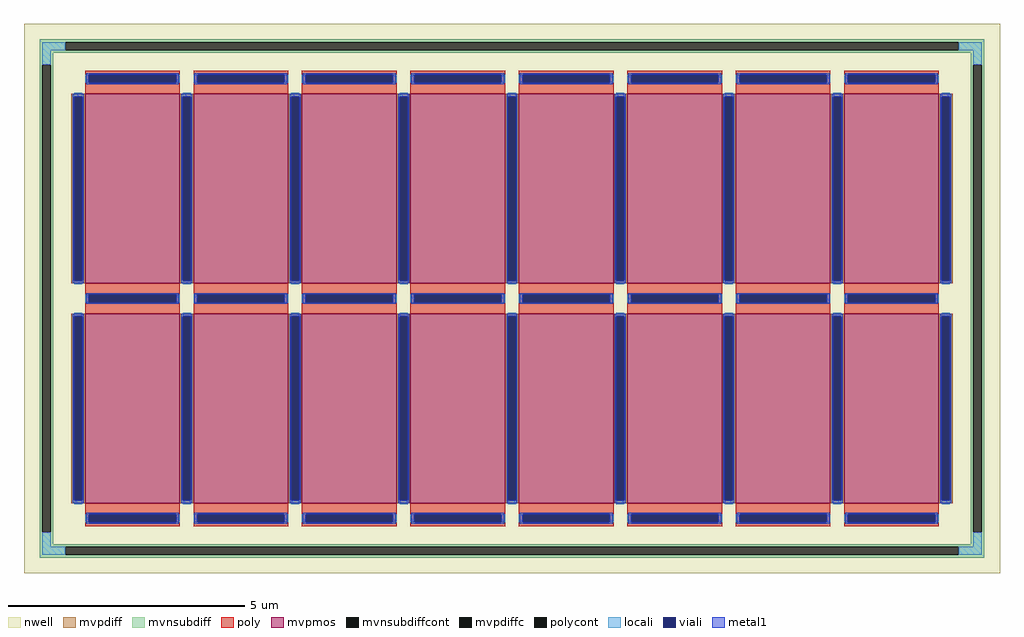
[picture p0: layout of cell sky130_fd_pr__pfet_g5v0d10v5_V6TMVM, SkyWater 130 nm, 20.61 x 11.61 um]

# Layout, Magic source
magic
tech sky130A
magscale 1 2
<< nwell >>
rect -2061 -1161 2061 1161
<< mvpmos >>
rect -1803 64 -1403 864
rect -1345 64 -945 864
rect -887 64 -487 864
rect -429 64 -29 864
rect 29 64 429 864
rect 487 64 887 864
rect 945 64 1345 864
rect 1403 64 1803 864
rect -1803 -864 -1403 -64
rect -1345 -864 -945 -64
rect -887 -864 -487 -64
rect -429 -864 -29 -64
rect 29 -864 429 -64
rect 487 -864 887 -64
rect 945 -864 1345 -64
rect 1403 -864 1803 -64
<< mvpdiff >>
rect -1861 852 -1803 864
rect -1861 76 -1849 852
rect -1815 76 -1803 852
rect -1861 64 -1803 76
rect -1403 852 -1345 864
rect -1403 76 -1391 852
rect -1357 76 -1345 852
rect -1403 64 -1345 76
rect -945 852 -887 864
rect -945 76 -933 852
rect -899 76 -887 852
rect -945 64 -887 76
rect -487 852 -429 864
rect -487 76 -475 852
rect -441 76 -429 852
rect -487 64 -429 76
rect -29 852 29 864
rect -29 76 -17 852
rect 17 76 29 852
rect -29 64 29 76
rect 429 852 487 864
rect 429 76 441 852
rect 475 76 487 852
rect 429 64 487 76
rect 887 852 945 864
rect 887 76 899 852
rect 933 76 945 852
rect 887 64 945 76
rect 1345 852 1403 864
rect 1345 76 1357 852
rect 1391 76 1403 852
rect 1345 64 1403 76
rect 1803 852 1861 864
rect 1803 76 1815 852
rect 1849 76 1861 852
rect 1803 64 1861 76
rect -1861 -76 -1803 -64
rect -1861 -852 -1849 -76
rect -1815 -852 -1803 -76
rect -1861 -864 -1803 -852
rect -1403 -76 -1345 -64
rect -1403 -852 -1391 -76
rect -1357 -852 -1345 -76
rect -1403 -864 -1345 -852
rect -945 -76 -887 -64
rect -945 -852 -933 -76
rect -899 -852 -887 -76
rect -945 -864 -887 -852
rect -487 -76 -429 -64
rect -487 -852 -475 -76
rect -441 -852 -429 -76
rect -487 -864 -429 -852
rect -29 -76 29 -64
rect -29 -852 -17 -76
rect 17 -852 29 -76
rect -29 -864 29 -852
rect 429 -76 487 -64
rect 429 -852 441 -76
rect 475 -852 487 -76
rect 429 -864 487 -852
rect 887 -76 945 -64
rect 887 -852 899 -76
rect 933 -852 945 -76
rect 887 -864 945 -852
rect 1345 -76 1403 -64
rect 1345 -852 1357 -76
rect 1391 -852 1403 -76
rect 1345 -864 1403 -852
rect 1803 -76 1861 -64
rect 1803 -852 1815 -76
rect 1849 -852 1861 -76
rect 1803 -864 1861 -852
<< mvpdiffc >>
rect -1849 76 -1815 852
rect -1391 76 -1357 852
rect -933 76 -899 852
rect -475 76 -441 852
rect -17 76 17 852
rect 441 76 475 852
rect 899 76 933 852
rect 1357 76 1391 852
rect 1815 76 1849 852
rect -1849 -852 -1815 -76
rect -1391 -852 -1357 -76
rect -933 -852 -899 -76
rect -475 -852 -441 -76
rect -17 -852 17 -76
rect 441 -852 475 -76
rect 899 -852 933 -76
rect 1357 -852 1391 -76
rect 1815 -852 1849 -76
<< mvnsubdiff >>
rect -1995 1083 1995 1095
rect -1995 1049 -1887 1083
rect 1887 1049 1995 1083
rect -1995 1037 1995 1049
rect -1995 987 -1937 1037
rect -1995 -987 -1983 987
rect -1949 -987 -1937 987
rect 1937 987 1995 1037
rect -1995 -1037 -1937 -987
rect 1937 -987 1949 987
rect 1983 -987 1995 987
rect 1937 -1037 1995 -987
rect -1995 -1049 1995 -1037
rect -1995 -1083 -1887 -1049
rect 1887 -1083 1995 -1049
rect -1995 -1095 1995 -1083
<< mvnsubdiffcont >>
rect -1887 1049 1887 1083
rect -1983 -987 -1949 987
rect 1949 -987 1983 987
rect -1887 -1083 1887 -1049
<< poly >>
rect -1803 945 -1403 961
rect -1803 911 -1787 945
rect -1419 911 -1403 945
rect -1803 864 -1403 911
rect -1345 945 -945 961
rect -1345 911 -1329 945
rect -961 911 -945 945
rect -1345 864 -945 911
rect -887 945 -487 961
rect -887 911 -871 945
rect -503 911 -487 945
rect -887 864 -487 911
rect -429 945 -29 961
rect -429 911 -413 945
rect -45 911 -29 945
rect -429 864 -29 911
rect 29 945 429 961
rect 29 911 45 945
rect 413 911 429 945
rect 29 864 429 911
rect 487 945 887 961
rect 487 911 503 945
rect 871 911 887 945
rect 487 864 887 911
rect 945 945 1345 961
rect 945 911 961 945
rect 1329 911 1345 945
rect 945 864 1345 911
rect 1403 945 1803 961
rect 1403 911 1419 945
rect 1787 911 1803 945
rect 1403 864 1803 911
rect -1803 17 -1403 64
rect -1803 -17 -1787 17
rect -1419 -17 -1403 17
rect -1803 -64 -1403 -17
rect -1345 17 -945 64
rect -1345 -17 -1329 17
rect -961 -17 -945 17
rect -1345 -64 -945 -17
rect -887 17 -487 64
rect -887 -17 -871 17
rect -503 -17 -487 17
rect -887 -64 -487 -17
rect -429 17 -29 64
rect -429 -17 -413 17
rect -45 -17 -29 17
rect -429 -64 -29 -17
rect 29 17 429 64
rect 29 -17 45 17
rect 413 -17 429 17
rect 29 -64 429 -17
rect 487 17 887 64
rect 487 -17 503 17
rect 871 -17 887 17
rect 487 -64 887 -17
rect 945 17 1345 64
rect 945 -17 961 17
rect 1329 -17 1345 17
rect 945 -64 1345 -17
rect 1403 17 1803 64
rect 1403 -17 1419 17
rect 1787 -17 1803 17
rect 1403 -64 1803 -17
rect -1803 -911 -1403 -864
rect -1803 -945 -1787 -911
rect -1419 -945 -1403 -911
rect -1803 -961 -1403 -945
rect -1345 -911 -945 -864
rect -1345 -945 -1329 -911
rect -961 -945 -945 -911
rect -1345 -961 -945 -945
rect -887 -911 -487 -864
rect -887 -945 -871 -911
rect -503 -945 -487 -911
rect -887 -961 -487 -945
rect -429 -911 -29 -864
rect -429 -945 -413 -911
rect -45 -945 -29 -911
rect -429 -961 -29 -945
rect 29 -911 429 -864
rect 29 -945 45 -911
rect 413 -945 429 -911
rect 29 -961 429 -945
rect 487 -911 887 -864
rect 487 -945 503 -911
rect 871 -945 887 -911
rect 487 -961 887 -945
rect 945 -911 1345 -864
rect 945 -945 961 -911
rect 1329 -945 1345 -911
rect 945 -961 1345 -945
rect 1403 -911 1803 -864
rect 1403 -945 1419 -911
rect 1787 -945 1803 -911
rect 1403 -961 1803 -945
<< polycont >>
rect -1787 911 -1419 945
rect -1329 911 -961 945
rect -871 911 -503 945
rect -413 911 -45 945
rect 45 911 413 945
rect 503 911 871 945
rect 961 911 1329 945
rect 1419 911 1787 945
rect -1787 -17 -1419 17
rect -1329 -17 -961 17
rect -871 -17 -503 17
rect -413 -17 -45 17
rect 45 -17 413 17
rect 503 -17 871 17
rect 961 -17 1329 17
rect 1419 -17 1787 17
rect -1787 -945 -1419 -911
rect -1329 -945 -961 -911
rect -871 -945 -503 -911
rect -413 -945 -45 -911
rect 45 -945 413 -911
rect 503 -945 871 -911
rect 961 -945 1329 -911
rect 1419 -945 1787 -911
<< locali >>
rect -1983 1049 -1887 1083
rect 1887 1049 1983 1083
rect -1983 987 -1949 1049
rect 1949 987 1983 1049
rect -1803 911 -1787 945
rect -1419 911 -1403 945
rect -1345 911 -1329 945
rect -961 911 -945 945
rect -887 911 -871 945
rect -503 911 -487 945
rect -429 911 -413 945
rect -45 911 -29 945
rect 29 911 45 945
rect 413 911 429 945
rect 487 911 503 945
rect 871 911 887 945
rect 945 911 961 945
rect 1329 911 1345 945
rect 1403 911 1419 945
rect 1787 911 1803 945
rect -1849 852 -1815 868
rect -1849 60 -1815 76
rect -1391 852 -1357 868
rect -1391 60 -1357 76
rect -933 852 -899 868
rect -933 60 -899 76
rect -475 852 -441 868
rect -475 60 -441 76
rect -17 852 17 868
rect -17 60 17 76
rect 441 852 475 868
rect 441 60 475 76
rect 899 852 933 868
rect 899 60 933 76
rect 1357 852 1391 868
rect 1357 60 1391 76
rect 1815 852 1849 868
rect 1815 60 1849 76
rect -1803 -17 -1787 17
rect -1419 -17 -1403 17
rect -1345 -17 -1329 17
rect -961 -17 -945 17
rect -887 -17 -871 17
rect -503 -17 -487 17
rect -429 -17 -413 17
rect -45 -17 -29 17
rect 29 -17 45 17
rect 413 -17 429 17
rect 487 -17 503 17
rect 871 -17 887 17
rect 945 -17 961 17
rect 1329 -17 1345 17
rect 1403 -17 1419 17
rect 1787 -17 1803 17
rect -1849 -76 -1815 -60
rect -1849 -868 -1815 -852
rect -1391 -76 -1357 -60
rect -1391 -868 -1357 -852
rect -933 -76 -899 -60
rect -933 -868 -899 -852
rect -475 -76 -441 -60
rect -475 -868 -441 -852
rect -17 -76 17 -60
rect -17 -868 17 -852
rect 441 -76 475 -60
rect 441 -868 475 -852
rect 899 -76 933 -60
rect 899 -868 933 -852
rect 1357 -76 1391 -60
rect 1357 -868 1391 -852
rect 1815 -76 1849 -60
rect 1815 -868 1849 -852
rect -1803 -945 -1787 -911
rect -1419 -945 -1403 -911
rect -1345 -945 -1329 -911
rect -961 -945 -945 -911
rect -887 -945 -871 -911
rect -503 -945 -487 -911
rect -429 -945 -413 -911
rect -45 -945 -29 -911
rect 29 -945 45 -911
rect 413 -945 429 -911
rect 487 -945 503 -911
rect 871 -945 887 -911
rect 945 -945 961 -911
rect 1329 -945 1345 -911
rect 1403 -945 1419 -911
rect 1787 -945 1803 -911
rect -1983 -1049 -1949 -987
rect 1949 -1049 1983 -987
rect -1983 -1083 -1887 -1049
rect 1887 -1083 1983 -1049
<< viali >>
rect -1787 911 -1419 945
rect -1329 911 -961 945
rect -871 911 -503 945
rect -413 911 -45 945
rect 45 911 413 945
rect 503 911 871 945
rect 961 911 1329 945
rect 1419 911 1787 945
rect -1849 76 -1815 852
rect -1391 76 -1357 852
rect -933 76 -899 852
rect -475 76 -441 852
rect -17 76 17 852
rect 441 76 475 852
rect 899 76 933 852
rect 1357 76 1391 852
rect 1815 76 1849 852
rect -1787 -17 -1419 17
rect -1329 -17 -961 17
rect -871 -17 -503 17
rect -413 -17 -45 17
rect 45 -17 413 17
rect 503 -17 871 17
rect 961 -17 1329 17
rect 1419 -17 1787 17
rect -1849 -852 -1815 -76
rect -1391 -852 -1357 -76
rect -933 -852 -899 -76
rect -475 -852 -441 -76
rect -17 -852 17 -76
rect 441 -852 475 -76
rect 899 -852 933 -76
rect 1357 -852 1391 -76
rect 1815 -852 1849 -76
rect -1787 -945 -1419 -911
rect -1329 -945 -961 -911
rect -871 -945 -503 -911
rect -413 -945 -45 -911
rect 45 -945 413 -911
rect 503 -945 871 -911
rect 961 -945 1329 -911
rect 1419 -945 1787 -911
<< metal1 >>
rect -1799 945 -1407 951
rect -1799 911 -1787 945
rect -1419 911 -1407 945
rect -1799 905 -1407 911
rect -1341 945 -949 951
rect -1341 911 -1329 945
rect -961 911 -949 945
rect -1341 905 -949 911
rect -883 945 -491 951
rect -883 911 -871 945
rect -503 911 -491 945
rect -883 905 -491 911
rect -425 945 -33 951
rect -425 911 -413 945
rect -45 911 -33 945
rect -425 905 -33 911
rect 33 945 425 951
rect 33 911 45 945
rect 413 911 425 945
rect 33 905 425 911
rect 491 945 883 951
rect 491 911 503 945
rect 871 911 883 945
rect 491 905 883 911
rect 949 945 1341 951
rect 949 911 961 945
rect 1329 911 1341 945
rect 949 905 1341 911
rect 1407 945 1799 951
rect 1407 911 1419 945
rect 1787 911 1799 945
rect 1407 905 1799 911
rect -1855 852 -1809 864
rect -1855 76 -1849 852
rect -1815 76 -1809 852
rect -1855 64 -1809 76
rect -1397 852 -1351 864
rect -1397 76 -1391 852
rect -1357 76 -1351 852
rect -1397 64 -1351 76
rect -939 852 -893 864
rect -939 76 -933 852
rect -899 76 -893 852
rect -939 64 -893 76
rect -481 852 -435 864
rect -481 76 -475 852
rect -441 76 -435 852
rect -481 64 -435 76
rect -23 852 23 864
rect -23 76 -17 852
rect 17 76 23 852
rect -23 64 23 76
rect 435 852 481 864
rect 435 76 441 852
rect 475 76 481 852
rect 435 64 481 76
rect 893 852 939 864
rect 893 76 899 852
rect 933 76 939 852
rect 893 64 939 76
rect 1351 852 1397 864
rect 1351 76 1357 852
rect 1391 76 1397 852
rect 1351 64 1397 76
rect 1809 852 1855 864
rect 1809 76 1815 852
rect 1849 76 1855 852
rect 1809 64 1855 76
rect -1799 17 -1407 23
rect -1799 -17 -1787 17
rect -1419 -17 -1407 17
rect -1799 -23 -1407 -17
rect -1341 17 -949 23
rect -1341 -17 -1329 17
rect -961 -17 -949 17
rect -1341 -23 -949 -17
rect -883 17 -491 23
rect -883 -17 -871 17
rect -503 -17 -491 17
rect -883 -23 -491 -17
rect -425 17 -33 23
rect -425 -17 -413 17
rect -45 -17 -33 17
rect -425 -23 -33 -17
rect 33 17 425 23
rect 33 -17 45 17
rect 413 -17 425 17
rect 33 -23 425 -17
rect 491 17 883 23
rect 491 -17 503 17
rect 871 -17 883 17
rect 491 -23 883 -17
rect 949 17 1341 23
rect 949 -17 961 17
rect 1329 -17 1341 17
rect 949 -23 1341 -17
rect 1407 17 1799 23
rect 1407 -17 1419 17
rect 1787 -17 1799 17
rect 1407 -23 1799 -17
rect -1855 -76 -1809 -64
rect -1855 -852 -1849 -76
rect -1815 -852 -1809 -76
rect -1855 -864 -1809 -852
rect -1397 -76 -1351 -64
rect -1397 -852 -1391 -76
rect -1357 -852 -1351 -76
rect -1397 -864 -1351 -852
rect -939 -76 -893 -64
rect -939 -852 -933 -76
rect -899 -852 -893 -76
rect -939 -864 -893 -852
rect -481 -76 -435 -64
rect -481 -852 -475 -76
rect -441 -852 -435 -76
rect -481 -864 -435 -852
rect -23 -76 23 -64
rect -23 -852 -17 -76
rect 17 -852 23 -76
rect -23 -864 23 -852
rect 435 -76 481 -64
rect 435 -852 441 -76
rect 475 -852 481 -76
rect 435 -864 481 -852
rect 893 -76 939 -64
rect 893 -852 899 -76
rect 933 -852 939 -76
rect 893 -864 939 -852
rect 1351 -76 1397 -64
rect 1351 -852 1357 -76
rect 1391 -852 1397 -76
rect 1351 -864 1397 -852
rect 1809 -76 1855 -64
rect 1809 -852 1815 -76
rect 1849 -852 1855 -76
rect 1809 -864 1855 -852
rect -1799 -911 -1407 -905
rect -1799 -945 -1787 -911
rect -1419 -945 -1407 -911
rect -1799 -951 -1407 -945
rect -1341 -911 -949 -905
rect -1341 -945 -1329 -911
rect -961 -945 -949 -911
rect -1341 -951 -949 -945
rect -883 -911 -491 -905
rect -883 -945 -871 -911
rect -503 -945 -491 -911
rect -883 -951 -491 -945
rect -425 -911 -33 -905
rect -425 -945 -413 -911
rect -45 -945 -33 -911
rect -425 -951 -33 -945
rect 33 -911 425 -905
rect 33 -945 45 -911
rect 413 -945 425 -911
rect 33 -951 425 -945
rect 491 -911 883 -905
rect 491 -945 503 -911
rect 871 -945 883 -911
rect 491 -951 883 -945
rect 949 -911 1341 -905
rect 949 -945 961 -911
rect 1329 -945 1341 -911
rect 949 -951 1341 -945
rect 1407 -911 1799 -905
rect 1407 -945 1419 -911
rect 1787 -945 1799 -911
rect 1407 -951 1799 -945
<< properties >>
string FIXED_BBOX -1966 -1066 1966 1066
string gencell sky130_fd_pr__pfet_g5v0d10v5
string library sky130
string parameters w 4.0 l 2.0 m 2 nf 8 diffcov 100 polycov 100 guard 1 glc 1 grc 1 gtc 1 gbc 1 tbcov 100 rlcov 100 topc 1 botc 1 poverlap 1 doverlap 1 lmin 0.50 wmin 0.42 compatible {sky130_fd_pr__pfet_01v8  sky130_fd_pr__pfet_01v8_lvt sky130_fd_pr__pfet_01v8_hvt  sky130_fd_pr__pfet_g5v0d10v5} full_metal 1 viasrc 100 viadrn 100 viagate 100 viagb 0 viagr 0 viagl 0 viagt 0
<< end >>
